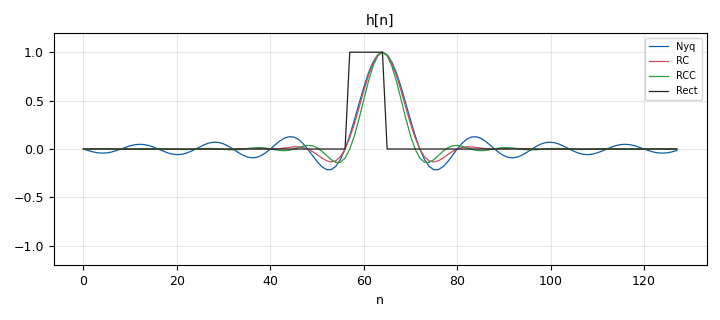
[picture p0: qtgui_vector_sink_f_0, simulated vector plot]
<?xml version='1.0' encoding='utf-8'?>
<?grc format='1' created='3.7.9'?>
<flow_graph>
<block>
<key>options</key>
<param><key>id</key><value>cosenoalzado</value></param>
<param><key>category</key><value>Custom</value></param>
<param><key>generate_options</key><value>qt_gui</value></param>
<param><key>run</key><value>run_stop</value></param>
</block>
<block>
<key>variable_qtgui_range</key>
<param><key>id</key><value>Delay_all</value></param>
<param><key>value</key><value>0</value></param>
<param><key>gui_hint</key><value>1,4,1,1</value></param>
<param><key>label</key><value>Retraso todo</value></param>
<param><key>orient</key><value>Qt.Horizontal</value></param>
<param><key>start</key><value>0</value></param>
<param><key>step</key><value>Sps</value></param>
<param><key>stop</key><value>ntaps*10000</value></param>
<param><key>rangeType</key><value>int</value></param>
</block>
<block>
<key>variable</key>
<param><key>id</key><value>Rb</value></param>
<param><key>value</key><value>32000</value></param>
</block>
<block>
<key>variable</key>
<param><key>id</key><value>Sps</value></param>
<param><key>value</key><value>8</value></param>
</block>
<block>
<key>variable_qtgui_range</key>
<param><key>id</key><value>ntaps</value></param>
<param><key>value</key><value>Sps*16</value></param>
<param><key>gui_hint</key><value>0,2,1,1</value></param>
<param><key>label</key><value>ntaps</value></param>
<param><key>orient</key><value>Qt.Horizontal</value></param>
<param><key>start</key><value>Sps</value></param>
<param><key>step</key><value>Sps</value></param>
<param><key>stop</key><value>Sps*1024</value></param>
<param><key>rangeType</key><value>int</value></param>
</block>
<block>
<key>variable_qtgui_range</key>
<param><key>id</key><value>rolloff</value></param>
<param><key>value</key><value>0.5</value></param>
<param><key>gui_hint</key><value>0,1,1,1</value></param>
<param><key>label</key><value>Roll off</value></param>
<param><key>orient</key><value>Qt.Horizontal</value></param>
<param><key>start</key><value>0.1</value></param>
<param><key>step</key><value>0.1</value></param>
<param><key>stop</key><value>4.0</value></param>
</block>
<block>
<key>variable_qtgui_check_box</key>
<param><key>id</key><value>run_stop</value></param>
<param><key>value</key><value>True</value></param>
<param><key>false</key><value>False</value></param>
<param><key>gui_hint</key><value>0,0,1,1</value></param>
<param><key>label</key><value>Inicial/Parar</value></param>
<param><key>true</key><value>True</value></param>
<param><key>type</key><value>int</value></param>
</block>
<block>
<key>variable</key>
<param><key>id</key><value>samp_rate</value></param>
<param><key>value</key><value>Rb*Sps</value></param>
</block>
<block>
<key>blocks_stream_to_vector</key>
<param><key>id</key><value>blocks_stream_to_vector_0</value></param>
<param><key>type</key><value>float</value></param>
<param><key>num_items</key><value>ntaps</value></param>
</block>
<block>
<key>blocks_stream_to_vector</key>
<param><key>id</key><value>blocks_stream_to_vector_0_0</value></param>
<param><key>type</key><value>float</value></param>
<param><key>num_items</key><value>ntaps</value></param>
</block>
<block>
<key>blocks_stream_to_vector</key>
<param><key>id</key><value>blocks_stream_to_vector_0_1</value></param>
<param><key>type</key><value>float</value></param>
<param><key>num_items</key><value>ntaps</value></param>
</block>
<block>
<key>blocks_stream_to_vector</key>
<param><key>id</key><value>blocks_stream_to_vector_0_2</value></param>
<param><key>type</key><value>float</value></param>
<param><key>num_items</key><value>ntaps</value></param>
</block>
<block>
<key>blocks_vector_source_x</key>
<param><key>id</key><value>blocks_vector_source_x_0_0</value></param>
<param><key>type</key><value>float</value></param>
<param><key>repeat</key><value>True</value></param>
<param><key>vector</key><value>wform.nyq(Sps,ntaps)</value></param>
</block>
<block>
<key>blocks_vector_source_x</key>
<param><key>id</key><value>blocks_vector_source_x_0_1</value></param>
<param><key>type</key><value>float</value></param>
<param><key>repeat</key><value>True</value></param>
<param><key>vector</key><value>wform.rcos(Sps,ntaps,rolloff)</value></param>
</block>
<block>
<key>blocks_vector_source_x</key>
<param><key>id</key><value>blocks_vector_source_x_0_2</value></param>
<param><key>type</key><value>float</value></param>
<param><key>repeat</key><value>True</value></param>
<param><key>vector</key><value>wform.rrcos(Sps,ntaps,rolloff)</value></param>
</block>
<block>
<key>blocks_vector_source_x</key>
<param><key>id</key><value>blocks_vector_source_x_0_3_0_0</value></param>
<param><key>type</key><value>float</value></param>
<param><key>repeat</key><value>True</value></param>
<param><key>vector</key><value>wform.rect(Sps,ntaps)</value></param>
</block>
<block>
<key>import</key>
<param><key>id</key><value>import_0</value></param>
<param><key>import</key><value>import numpy</value></param>
</block>
<block>
<key>qtgui_tab_widget</key>
<param><key>id</key><value>pestana</value></param>
<param><key>_enabled</key><value>0</value></param>
<param><key>label0</key><value>Datos</value></param>
<param><key>label1</key><value>Espectro</value></param>
<param><key>label2</key><value>Diagrama de Ojo</value></param>
<param><key>num_tabs</key><value>3</value></param>
</block>
<block>
<key>qtgui_vector_sink_f</key>
<param><key>id</key><value>qtgui_vector_sink_f_0</value></param>
<param><key>label1</key><value>Nyq</value></param>
<param><key>width1</key><value>4</value></param>
<param><key>label2</key><value>RC</value></param>
<param><key>width2</key><value>4</value></param>
<param><key>color3</key><value>"magenta"</value></param>
<param><key>label3</key><value>RCC</value></param>
<param><key>width3</key><value>4</value></param>
<param><key>label4</key><value>Rect</value></param>
<param><key>width4</key><value>4</value></param>
<param><key>name</key><value>"h[n]"</value></param>
<param><key>nconnections</key><value>4</value></param>
<param><key>showports</key><value>True</value></param>
<param><key>vlen</key><value>ntaps</value></param>
<param><key>x_axis_label</key><value>"n"</value></param>
<param><key>x_start</key><value>0</value></param>
<param><key>x_step</key><value>1.0</value></param>
<param><key>ymax</key><value>1.2</value></param>
<param><key>ymin</key><value>-1.2</value></param>
<param><key>y_axis_label</key><value></value></param>
</block>
<block>
<key>epy_module</key>
<param><key>id</key><value>wform</value></param>
<param><key>source_code</key><value>import math
import numpy
#######################################################
##        Hecho por Homero Ortega Boada              ##
##        comdiguis@saber.uis.edu.co                 ##
##     Universidad Industrial de Santander           ##
#######################################################

#######################################################
##               Forma rectangular                   ##
#######################################################                       
def rect(Sps,ntaps):
#    return Sps*[1.,]
    return (ntaps-Sps-int(ntaps/2)+1)*[0.,]+Sps*[1.,]+int(ntaps/2-1)*[0.,]

#######################################################
##               Forma de Nyquist                    ##
#######################################################                       
def nyq(Sps,ntaps):
    n=numpy.linspace(-int(ntaps/2), int(ntaps/2-1),ntaps)
    h=numpy.sinc(n/Sps)
    return h/numpy.amax(h)
#    return h
#######################################################
##               Forma Coseno Alzado                 ##
#######################################################                       
def rcos(Sps,ntaps,beta):
    if beta==0:
        h=nyq(Sps,ntaps)
    else:
        h=ntaps*[0,]
        for n in range(ntaps):
            k=n-ntaps/2. # esto es para que h[n] quede centrada en la mitad del vector
            if abs(k)==Sps/(2.*beta):
                h[n]=numpy.sinc(1./(2.*beta))*math.pi/4.
            else:
                h[n]=numpy.sinc(k/Sps)*math.cos(beta*k*math.pi/Sps)/(1.-(2.*beta*k/Sps)**2)                
    Amp=numpy.amax(h)
    return h/Amp
#######################################################
##            Forma Raiz de Coseno Alzado            ##
#######################################################                       

def rrcos(Sps,ntaps,beta):
    if beta==0:
        h=nyq(Sps,ntaps)
    else:
        h=ntaps*[0,]
        beta4=4.*beta
        for n in range(ntaps):
            k=n-ntaps/2. # esto es para que h[n] quede centrada en la mitad del vector
            if k==0:
                h[n]=1+beta*(4./math.pi-1.)
            elif abs(k)==Sps/beta4:
                ha=(1.+2./math.pi)*math.sin(math.pi/beta4)
                hb=(1.-2./math.pi)*math.cos(math.pi/beta4)
                h[n]=(ha+hb)*beta/math.sqrt(2.)
            else:
                ks=k/Sps
                kspi=math.pi*ks
                Num=math.sin(kspi*(1-beta))+beta4*ks*math.cos(kspi*(1+beta))
                Den=kspi*(1.-(beta4*ks)**2)
                h[n]=Num/Den                
    Amp=numpy.amax(h)
    return h/Amp
</value></param>
</block>
<connection><source_block_id>blocks_stream_to_vector_0</source_block_id><sink_block_id>qtgui_vector_sink_f_0</sink_block_id><source_key>0</source_key><sink_key>3</sink_key></connection>
<connection><source_block_id>blocks_stream_to_vector_0_0</source_block_id><sink_block_id>qtgui_vector_sink_f_0</sink_block_id><source_key>0</source_key><sink_key>0</sink_key></connection>
<connection><source_block_id>blocks_stream_to_vector_0_1</source_block_id><sink_block_id>qtgui_vector_sink_f_0</sink_block_id><source_key>0</source_key><sink_key>1</sink_key></connection>
<connection><source_block_id>blocks_stream_to_vector_0_2</source_block_id><sink_block_id>qtgui_vector_sink_f_0</sink_block_id><source_key>0</source_key><sink_key>2</sink_key></connection>
<connection><source_block_id>blocks_vector_source_x_0_0</source_block_id><sink_block_id>blocks_stream_to_vector_0_0</sink_block_id><source_key>0</source_key><sink_key>0</sink_key></connection>
<connection><source_block_id>blocks_vector_source_x_0_1</source_block_id><sink_block_id>blocks_stream_to_vector_0_1</sink_block_id><source_key>0</source_key><sink_key>0</sink_key></connection>
<connection><source_block_id>blocks_vector_source_x_0_2</source_block_id><sink_block_id>blocks_stream_to_vector_0_2</sink_block_id><source_key>0</source_key><sink_key>0</sink_key></connection>
<connection><source_block_id>blocks_vector_source_x_0_3_0_0</source_block_id><sink_block_id>blocks_stream_to_vector_0</sink_block_id><source_key>0</source_key><sink_key>0</sink_key></connection>
</flow_graph>
